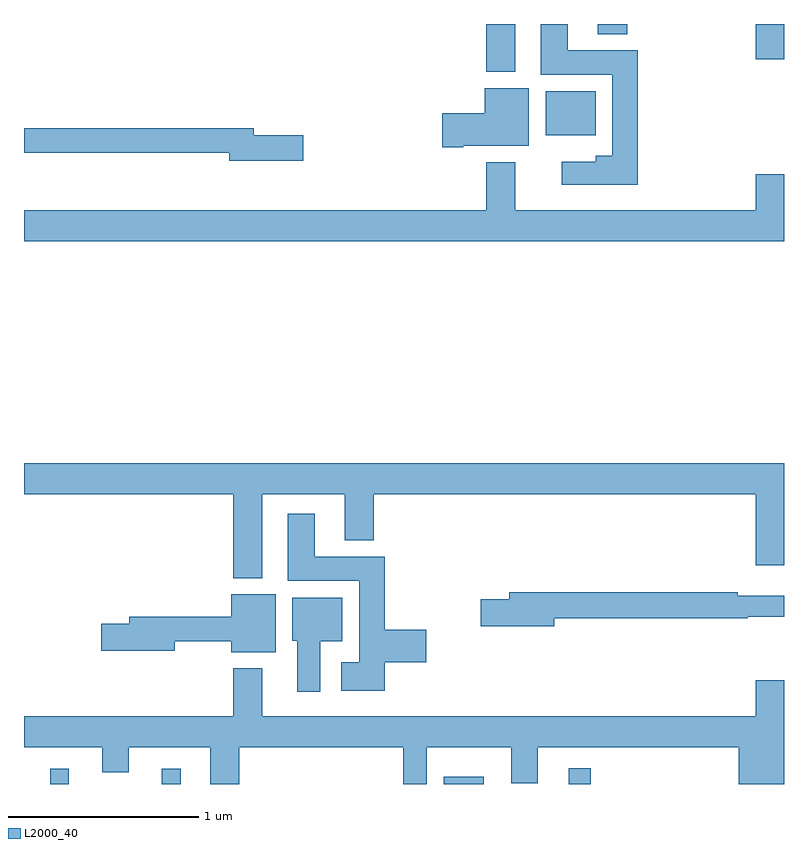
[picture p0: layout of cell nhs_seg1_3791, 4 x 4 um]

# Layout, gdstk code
import gdstk
lib = gdstk.Library(unit=1e-6, precision=1e-09)
def R(c, l, rs):  # rectangles x0, y0, x1, y1
    for r in rs: c.add(gdstk.rectangle(r[:2], r[2:], *l))
def P(c, l, *ps):  # polygons
    for p in ps: c.add(gdstk.Polygon(p, *l))
L2000_40 = (2000, 40)

nhs_seg1_3791 = lib.new_cell('nhs_seg1_3791')
R(nhs_seg1_3791, L2000_40, [(317.139,558.199,317.236,558.28), (317.726,558.199,317.824,558.28), (319.208,558.199,319.42,558.238), (319.866,558.199,319.982,558.283), (319.745,561.614,320.008,561.844), (319.433,561.947,319.585,562.199), (320.852,562.014,321,562.199), (320.021,562.145,320.174,562.199)])
P(nhs_seg1_3791, L2000_40, [(320.231,562.06),(319.861,562.06),(319.861,562.199),(319.721,562.199),(319.721,561.932),(320.096,561.932),(320.096,561.505),(320.009,561.505),(320.009,561.475),(319.83,561.475),(319.83,561.353),(320.231,561.353)],
  [(319.312,561.557),(319.657,561.557),(319.657,561.862),(319.424,561.862),(319.424,561.728),(319.2,561.728),(319.2,561.55),(319.312,561.55)],
  [(318.469,561.614),(318.208,561.614),(318.208,561.65),(317,561.65),(317,561.522),(318.08,561.522),(318.08,561.479),(318.469,561.479)],
  [(321,561.409),(320.852,561.409),(320.852,561.22),(319.585,561.22),(319.585,561.472),(319.433,561.472),(319.433,561.22),(317,561.22),(317,561.056),(321,561.056)],
  [(318.253,559.724),(318.689,559.724),(318.689,559.481),(318.842,559.481),(318.842,559.724),(320.852,559.724),(320.852,559.35),(321,559.35),(321,559.888),(317,559.888),(317,559.724),(318.101,559.724),(318.101,559.283),(318.253,559.283)],
  [(318.899,558.839),(319.117,558.839),(319.117,559.01),(318.899,559.01),(318.899,559.396),(318.529,559.396),(318.529,559.621),(318.389,559.621),(318.389,559.268),(318.764,559.268),(318.764,558.841),(318.669,558.841),(318.669,558.689),(318.899,558.689)],
  [(319.792,559.072),(320.81,559.072),(320.81,559.08),(321,559.08),(321,559.189),(320.756,559.189),(320.756,559.208),(319.553,559.208),(319.553,559.172),(319.404,559.172),(319.404,559.03),(319.792,559.03)],
  [(318.325,559.198),(318.092,559.198),(318.092,559.079),(317.555,559.079),(317.555,559.043),(317.406,559.043),(317.406,558.901),(317.794,558.901),(317.794,558.951),(318.092,558.951),(318.092,558.893),(318.325,558.893)],
  [(318.559,558.95),(318.676,558.95),(318.676,559.18),(318.413,559.18),(318.413,558.954),(318.437,558.954),(318.437,558.684),(318.559,558.684)],
  [(318.134,558.392),(318.995,558.392),(318.995,558.199),(319.12,558.199),(319.12,558.392),(319.565,558.392),(319.565,558.203),(319.705,558.203),(319.705,558.392),(320.762,558.392),(320.762,558.199),(321,558.199),(321,558.745),(320.852,558.745),(320.852,558.556),(318.253,558.556),(318.253,558.808),(318.101,558.808),(318.101,558.556),(317,558.556),(317,558.392),(317.411,558.392),(317.411,558.262),(317.551,558.262),(317.551,558.392),(317.981,558.392),(317.981,558.199),(318.134,558.199)])

lib.write_gds('nhs_seg1_3791.gds')
